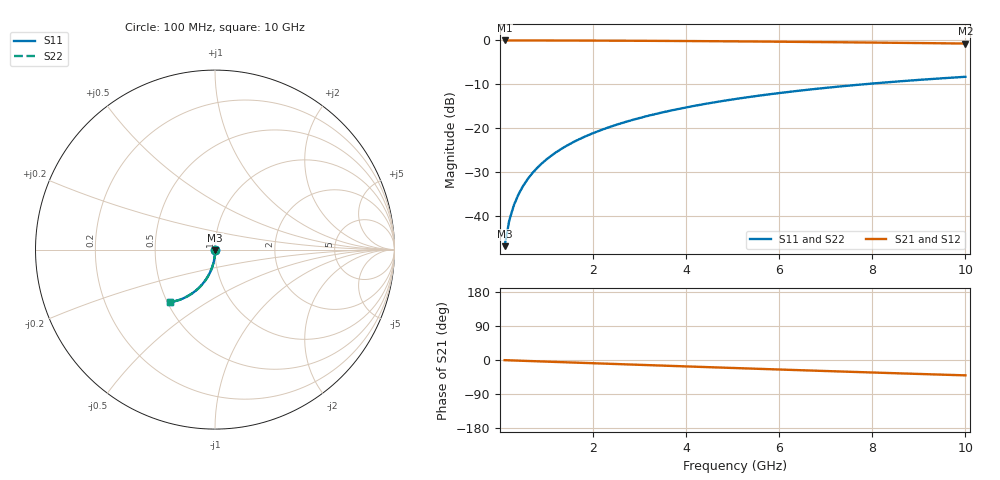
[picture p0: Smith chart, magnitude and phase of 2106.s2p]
# Hz S RI R 50.00
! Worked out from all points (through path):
!   100 points, 100 MHz to 10 GHz, reference 50 ohm
!   highest |S21| = -0.01 dB at 100 MHz (marker M1); lowest = -0.7 dB at 10 GHz (marker M2)
!   group delay of S21, straight-line fit = 11.3 ps
!   lowest |S11| = -46.9 dB at 100 MHz (marker M3), VSWR 1.01, Z = 50.1 - j0.441 ohm
!   |S11| at or under -10 dB: start of sweep to 7.826 GHz
!   |S22| runs from -46.9 to -8.3 dB; largest |S21 - S12| = 0
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1e8  0.000905 -0.0044  0.999 -0.00743  0.999 -0.00743  0.000905 -0.0044
2e8  0.000807 -0.00881  0.9989 -0.0149  0.9989 -0.0149  0.000807 -0.00881
3e8  0.000643 -0.0132  0.9987 -0.0223  0.9987 -0.0223  0.000643 -0.0132
4e8  0.000412 -0.0176  0.9984 -0.0297  0.9984 -0.0297  0.000412 -0.0176
5e8  0.000116 -0.022  0.9981 -0.0371  0.9981 -0.0371  0.000116 -0.022
6e8  -0.000247 -0.0264  0.9977 -0.0445  0.9977 -0.0445  -0.000247 -0.0264
7e8  -0.000674 -0.0308  0.9972 -0.0519  0.9972 -0.0519  -0.000674 -0.0308
8e8  -0.00117 -0.0351  0.9966 -0.0593  0.9966 -0.0593  -0.00117 -0.0351
9e8  -0.00172 -0.0395  0.996 -0.0667  0.996 -0.0667  -0.00172 -0.0395
1.1e9  -0.00303 -0.0482  0.9945 -0.0815  0.9945 -0.0815  -0.00303 -0.0482
1.4e9  -0.00548 -0.0612  0.9917 -0.1035  0.9917 -0.1035  -0.00548 -0.0612
1.8e9  -0.00962 -0.0782  0.9869 -0.1327  0.9869 -0.1327  -0.00962 -0.0782
2.1e9  -0.0134 -0.0908  0.9826 -0.1544  0.9826 -0.1544  -0.0134 -0.0908
2.5e9  -0.0192 -0.1073  0.9759 -0.183  0.9759 -0.183  -0.0192 -0.1073
2.9e9  -0.026 -0.1233  0.9681 -0.2111  0.9681 -0.2111  -0.026 -0.1233
3.4e9  -0.0358 -0.1427  0.9568 -0.2457  0.9568 -0.2457  -0.0358 -0.1427
4.2e9  -0.0541 -0.1718  0.9357 -0.2992  0.9357 -0.2992  -0.0541 -0.1718
5.1e9  -0.0783 -0.2015  0.9075 -0.3563  0.9075 -0.3563  -0.0783 -0.2015
5.9e9  -0.1025 -0.2248  0.8791 -0.4041  0.8791 -0.4041  -0.1025 -0.2248
6.7e9  -0.1288 -0.2449  0.848 -0.4488  0.848 -0.4488  -0.1288 -0.2449
8.4e9  -0.1895 -0.2766  0.7748 -0.5329  0.7748 -0.5329  -0.1895 -0.2766
1e10  -0.2494 -0.2927  0.7002 -0.5987  0.7002 -0.5987  -0.2494 -0.2927
